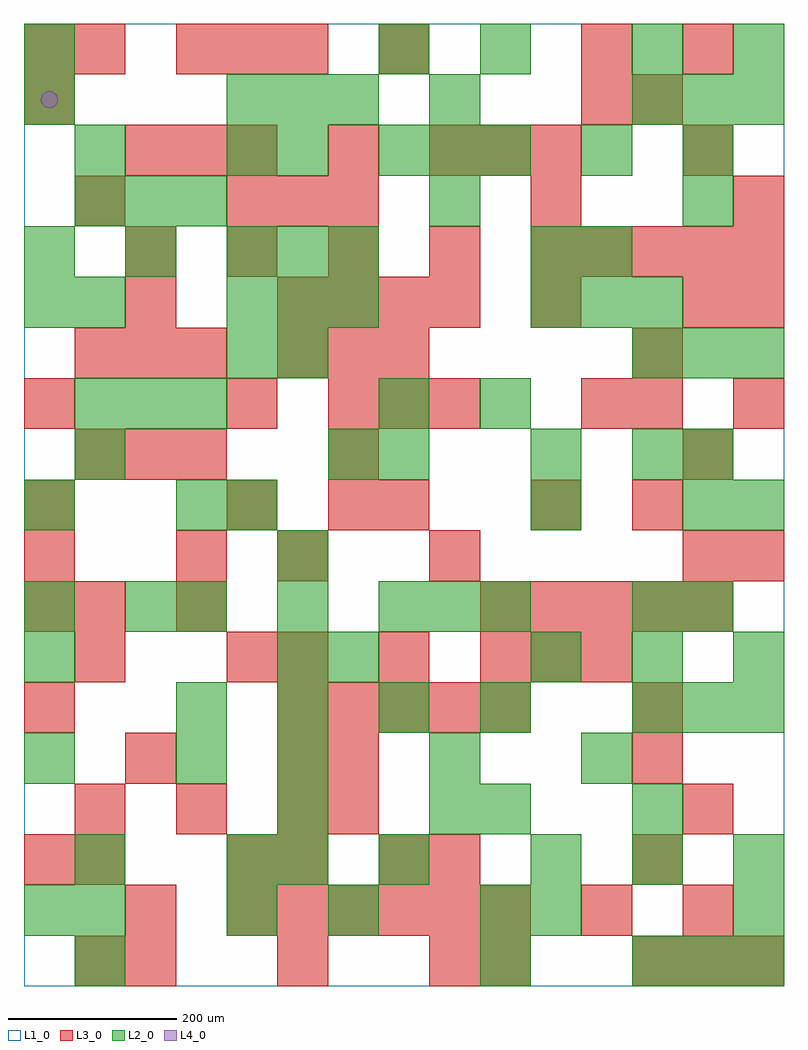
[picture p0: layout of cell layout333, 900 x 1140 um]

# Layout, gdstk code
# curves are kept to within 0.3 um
import gdstk
lib = gdstk.Library(unit=1e-6, precision=1e-09)
def R(c, l, rs):  # rectangles x0, y0, x1, y1
    for r in rs: c.add(gdstk.rectangle(r[:2], r[2:], *l))
def A(c, l, x, y, w, h, nx, ny, dx, dy):  # array of equal rectangles
    R(c, l, [(x+i*dx, y+j*dy, x+i*dx+w, y+j*dy+h) for i in range(nx) for j in range(ny)])
def P(c, l, *ps):  # polygons
    for p in ps: c.add(gdstk.Polygon(p, *l))
L1_0 = (1, 0)
L2_0 = (2, 0)
L3_0 = (3, 0)
L4_0 = (4, 0)

layout333 = lib.new_cell('layout333')
R(layout333, L1_0, [(0,0,900,1140)])
A(layout333, L2_0, 60, 0, 60, 60, 1, 3, 0, 60)
A(layout333, L2_0, 720, 0, 60, 60, 3, 2, 60, 300)
A(layout333, L2_0, 600, 120, 60, 60, 3, 2, 120, 240)
A(layout333, L2_0, 540, 180, 60, 60, 1, 3, 0, 240)
A(layout333, L2_0, 300, 240, 60, 60, 3, 1, 180, 0)
A(layout333, L2_0, 180, 300, 60, 60, 4, 1, 120, 0)
A(layout333, L2_0, 360, 360, 60, 60, 1, 3, 0, 240)
A(layout333, L2_0, 180, 420, 60, 60, 3, 1, 120, 0)
A(layout333, L2_0, 0, 540, 60, 60, 1, 3, 0, 240)
A(layout333, L2_0, 60, 600, 60, 60, 1, 3, 0, 180)
A(layout333, L2_0, 60, 660, 60, 60, 3, 2, 60, 240)
A(layout333, L2_0, 300, 720, 60, 60, 1, 3, 0, 120)
A(layout333, L2_0, 720, 720, 60, 60, 3, 2, 60, 300)
A(layout333, L2_0, 240, 780, 60, 60, 3, 2, 60, 240)
A(layout333, L2_0, 600, 780, 60, 60, 3, 1, 60, 0)
A(layout333, L2_0, 0, 840, 60, 60, 3, 1, 120, 0)
A(layout333, L2_0, 420, 960, 60, 60, 3, 1, 60, 0)
R(layout333, L2_0, [(540,0,600,60), (0,60,60,120), (240,60,300,120), (360,60,420,120), (540,60,600,120), (600,60,660,120), (840,60,900,120), (240,120,300,180), (300,120,360,180), (420,120,480,180), (300,180,360,240), (480,180,540,240), (720,180,780,240), (0,240,60,300), (180,240,240,300), (0,360,60,420), (300,360,360,420), (0,420,60,480), (120,420,180,480), (480,420,540,480), (720,420,780,480), (780,420,840,480), (300,480,360,540), (180,540,240,600), (240,540,300,600), (600,540,660,600), (780,540,840,600), (840,540,900,600), (420,600,480,660), (600,600,660,660), (720,600,780,660), (780,600,840,660), (420,660,480,720), (240,720,300,780), (600,840,660,900), (660,840,720,900), (480,900,540,960), (780,900,840,960), (240,960,300,1020), (660,960,720,1020), (780,960,840,1020), (480,1020,540,1080), (0,1080,60,1140), (420,1080,480,1140), (540,1080,600,1140), (720,1080,780,1140), (840,1080,900,1140)])
A(layout333, L3_0, 120, 0, 60, 60, 3, 1, 180, 0)
A(layout333, L3_0, 720, 0, 60, 60, 3, 1, 60, 0)
A(layout333, L3_0, 240, 60, 60, 60, 6, 1, 60, 0)
A(layout333, L3_0, 660, 60, 60, 60, 1, 3, 0, 300)
A(layout333, L3_0, 60, 180, 60, 60, 3, 1, 120, 0)
A(layout333, L3_0, 300, 300, 60, 60, 5, 1, 60, 0)
A(layout333, L3_0, 300, 360, 60, 60, 3, 1, 120, 0)
A(layout333, L3_0, 0, 420, 60, 60, 1, 3, 0, 60)
A(layout333, L3_0, 540, 420, 60, 60, 5, 1, 60, 0)
A(layout333, L3_0, 60, 600, 60, 60, 3, 2, 60, 120)
A(layout333, L3_0, 780, 600, 60, 60, 1, 3, 0, 180)
A(layout333, L3_0, 360, 660, 60, 60, 3, 1, 60, 0)
A(layout333, L3_0, 840, 660, 60, 60, 1, 3, 0, 120)
A(layout333, L3_0, 300, 720, 60, 60, 3, 1, 60, 0)
A(layout333, L3_0, 300, 780, 60, 60, 4, 1, 60, 0)
A(layout333, L3_0, 120, 840, 60, 60, 5, 1, 120, 0)
A(layout333, L3_0, 660, 840, 60, 60, 4, 1, 60, 0)
A(layout333, L3_0, 240, 900, 60, 60, 3, 1, 60, 0)
A(layout333, L3_0, 120, 960, 60, 60, 3, 1, 60, 0)
A(layout333, L3_0, 480, 960, 60, 60, 3, 1, 60, 0)
A(layout333, L3_0, 180, 1080, 60, 60, 3, 1, 60, 0)
R(layout333, L3_0, [(60,0,120,60), (540,0,600,60), (120,60,180,120), (780,60,840,120), (0,120,60,180), (60,120,120,180), (240,120,300,180), (300,120,360,180), (420,120,480,180), (480,120,540,180), (720,120,780,180), (360,180,420,240), (780,180,840,240), (120,240,180,300), (300,240,360,300), (360,240,420,300), (720,240,780,300), (0,300,60,360), (720,300,780,360), (60,360,120,420), (240,360,300,420), (600,360,660,420), (60,420,120,480), (180,420,240,480), (180,480,240,540), (300,480,360,540), (480,480,540,540), (780,480,840,540), (840,480,900,540), (240,540,300,600), (360,540,420,600), (420,540,480,600), (600,540,660,600), (720,540,780,600), (360,600,420,660), (0,660,60,720), (240,660,300,720), (720,660,780,720), (720,720,780,780), (120,780,180,840), (600,780,660,840), (60,900,120,960), (600,900,660,960), (360,960,420,1020), (0,1020,60,1080), (660,1020,720,1080), (720,1020,780,1080), (0,1080,60,1140), (60,1080,120,1140), (420,1080,480,1140), (660,1080,720,1140), (780,1080,840,1140)])
P(layout333, L4_0, [(40,1050),(39.239,1053.827),(37.071,1057.071),(33.827,1059.239),(30,1060),(26.173,1059.239),(22.929,1057.071),(20.761,1053.827),(20,1050),(20.761,1046.173),(22.929,1042.929),(26.173,1040.761),(30,1040),(33.827,1040.761),(37.071,1042.929),(39.239,1046.173)])

lib.write_gds('layout333.gds')
